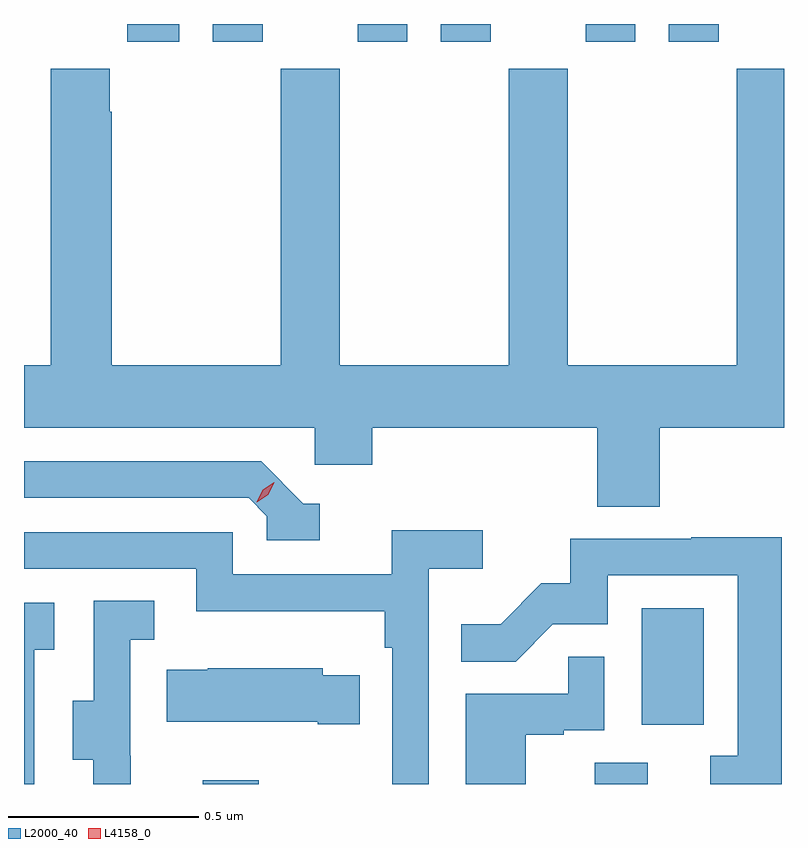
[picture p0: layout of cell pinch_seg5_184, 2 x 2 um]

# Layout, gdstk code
import gdstk
lib = gdstk.Library(unit=1e-6, precision=1e-09)
def R(c, l, rs):  # rectangles x0, y0, x1, y1
    for r in rs: c.add(gdstk.rectangle(r[:2], r[2:], *l))
def P(c, l, *ps):  # polygons
    for p in ps: c.add(gdstk.Polygon(p, *l))
L2000_40 = (2000, 40)
L4158_0 = (4158, 0)

pinch_seg5_184 = lib.new_cell('pinch_seg5_184')
R(pinch_seg5_184, L2000_40, [(1130.573,886.458,1130.721,886.468), (1131.605,886.458,1131.745,886.514), (1131.728,886.614,1131.892,886.921), (1130.375,888.411,1130.512,888.458), (1130.6,888.411,1130.731,888.458), (1130.981,888.411,1131.112,888.458), (1131.2,888.411,1131.331,888.458), (1131.581,888.411,1131.712,888.458), (1131.8,888.411,1131.931,888.458)])
P(pinch_seg5_184, L2000_40, [(1131.776,887.396),(1132.103,887.396),(1132.103,888.34),(1131.979,888.34),(1131.979,887.56),(1131.534,887.56),(1131.534,888.34),(1131.379,888.34),(1131.379,887.56),(1130.934,887.56),(1130.934,888.34),(1130.779,888.34),(1130.779,887.56),(1130.334,887.56),(1130.334,888.227),(1130.329,888.227),(1130.329,888.34),(1130.174,888.34),(1130.174,887.56),(1130.103,887.56),(1130.103,887.396),(1130.868,887.396),(1130.868,887.298),(1131.02,887.298),(1131.02,887.396),(1131.611,887.396),(1131.611,887.188),(1131.776,887.188)],
  [(1130.881,887.196),(1130.838,887.196),(1130.727,887.307),(1130.103,887.307),(1130.103,887.211),(1130.694,887.211),(1130.742,887.163),(1130.742,887.1),(1130.881,887.1)],
  [(1131.168,887.024),(1131.31,887.024),(1131.31,887.126),(1131.071,887.126),(1131.071,887.01),(1130.652,887.01),(1130.652,887.121),(1130.103,887.121),(1130.103,887.025),(1130.556,887.025),(1130.556,886.913),(1131.052,886.913),(1131.052,886.817),(1131.072,886.817),(1131.072,886.458),(1131.168,886.458)],
  [(1132.097,887.108),(1131.859,887.108),(1131.859,887.103),(1131.541,887.103),(1131.541,886.986),(1131.464,886.986),(1131.357,886.879),(1131.253,886.879),(1131.253,886.78),(1131.397,886.78),(1131.495,886.878),(1131.639,886.878),(1131.639,887.007),(1131.981,887.007),(1131.981,886.533),(1131.909,886.533),(1131.909,886.458),(1132.097,886.458)],
  [(1130.384,886.533),(1130.382,886.533),(1130.382,886.837),(1130.446,886.837),(1130.446,886.94),(1130.286,886.94),(1130.286,886.677),(1130.231,886.677),(1130.231,886.522),(1130.285,886.522),(1130.285,886.458),(1130.384,886.458)],
  [(1130.13,886.811),(1130.182,886.811),(1130.182,886.935),(1130.103,886.935),(1130.103,886.458),(1130.13,886.458)],
  [(1131.424,886.587),(1131.524,886.587),(1131.524,886.599),(1131.63,886.599),(1131.63,886.793),(1131.535,886.793),(1131.535,886.695),(1131.266,886.695),(1131.266,886.458),(1131.424,886.458)],
  [(1130.987,886.744),(1130.889,886.744),(1130.889,886.762),(1130.587,886.762),(1130.587,886.759),(1130.479,886.759),(1130.479,886.622),(1130.876,886.622),(1130.876,886.615),(1130.987,886.615)])
P(pinch_seg5_184, L4158_0, [(1130.715,887.2),(1130.715,887.2),(1130.731,887.233),(1130.761,887.252),(1130.762,887.252),(1130.762,887.252),(1130.746,887.219),(1130.716,887.2)])

lib.write_gds('pinch_seg5_184.gds')
